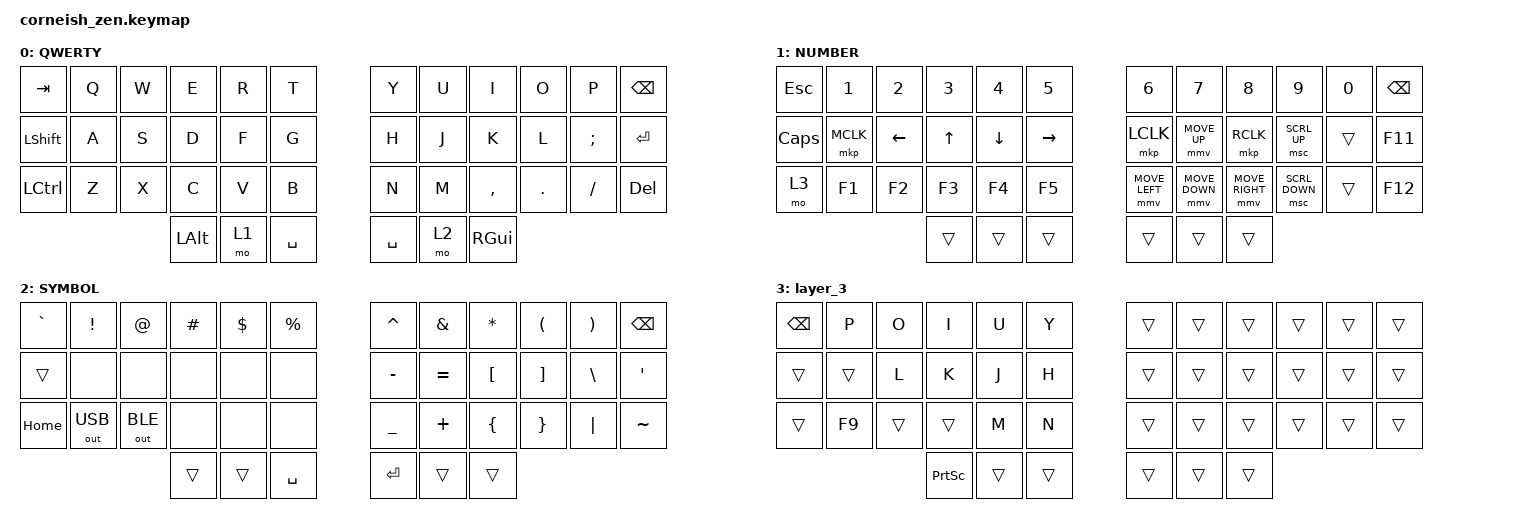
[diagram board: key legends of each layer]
/*
 * Copyright (c) 2020 The ZMK Contributors
 *
 * SPDX-License-Identifier: MIT
 */

#include <behaviors.dtsi>
#include <dt-bindings/zmk/keys.h>
#include <dt-bindings/zmk/outputs.h>
#include <dt-bindings/zmk/pointing.h>

/ {
    chosen {
        zmk,matrix_transform = &default_transform;

        // zmk,matrix_transform = &five_column_transform;
    };
};

/ {
    behaviors {
        td0: td0 {
            compatible = "zmk,behavior-tap-dance";
            label = "TD0";
            #binding-cells = <0>;
            bindings = <&kp LEFT_SHIFT>, <&kp CAPS>;
        };
    };

    combos { compatible = "zmk,combos"; };

    keymap {
        compatible = "zmk,keymap";

        default_layer {
            display-name = "QWERTY";

            // --------------------------------------------------------------------------------
            // |  TAB |  Q  |  W  |  E  |  R  |  T  |   |  Y  |  U   |  I  |  O  |  P  | BKSP |
            // | CTRL |  A  |  S  |  D  |  F  |  G  |   |  H  |  J   |  K  |  L  |  ;  |  '   | 
            // | SHFT |  Z  |  X  |  C  |  V  |  B  |   |  N  |  M   |  ,  |  .  |  /  | ESC  |
            //                    | GUI | LWR | SPC |   | ENT | RSE  | ALT |

            bindings = <
&kp TAB           &kp Q  &kp W  &kp E         &kp R  &kp T        &kp Y      &kp U  &kp I          &kp O    &kp P     &kp BSPC
&kp LEFT_SHIFT    &kp A  &kp S  &kp D         &kp F  &kp G        &kp H      &kp J  &kp K          &kp L    &kp SEMI  &kp ENTER
&kp LEFT_CONTROL  &kp Z  &kp X  &kp C         &kp V  &kp B        &kp N      &kp M  &kp COMMA      &kp DOT  &kp FSLH  &kp DELETE
                                &kp LEFT_ALT  &mo 1  &kp SPACE    &kp SPACE  &mo 2  &kp RIGHT_GUI
            >;
        };

        lower_layer {
            display-name = "NUMBER";

            // -----------------------------------------------------------------------------------------
            // |  TAB |  1  |  2  |  3  |  4  |  5  |   |  6  |  7  |  8  |  9  |  0  | BKSP |
            // | BTCLR| BT1 | BT2 | BT3 | BT4 | BT5 |   | LFT | DWN |  UP | RGT |     |      |
            // | SHFT |     |     |     |     |     |   |     |     |     |     |     |      |
            //                    | GUI |     | SPC |   | ENT |     | ALT |

            bindings = <
&kp ESC   &kp N1     &kp N2    &kp N3        &kp N4    &kp N5             &kp N6          &kp N7          &kp N8           &kp N9          &kp N0  &kp BSPC
&kp CAPS  &mkp MCLK  &kp LEFT  &kp UP_ARROW  &kp DOWN  &kp RIGHT_ARROW    &mkp LCLK       &mmv MOVE_UP    &mkp RCLK        &msc SCRL_UP    &trans  &kp F11
&mo 3     &kp F1     &kp F2    &kp F3        &kp F4    &kp F5             &mmv MOVE_LEFT  &mmv MOVE_DOWN  &mmv MOVE_RIGHT  &msc SCRL_DOWN  &trans  &kp F12
                               &trans        &trans    &trans             &trans          &trans          &trans
            >;
        };

        raise_layer {
            display-name = "SYMBOL";

            // -----------------------------------------------------------------------------------------
            // |  TAB |  !  |  @  |  #  |  $  |  %  |   |  ^  |  &  |  *  |  (  |  )  | BKSP |
            // | CTRL |     |     |     |     |     |   |  -  |  =  |  [  |  ]  |  \  |  `   |
            // | SHFT |     |     |     |     |     |   |  _  |  +  |  {  |  }  | "|" |  ~   |
            //                    | GUI |     | SPC |   | ENT |     | ALT |

            bindings = <
&kp GRAVE  &kp EXCL      &kp AT        &kp HASH  &kp DLLR  &kp PRCNT    &kp CARET  &kp AMPS   &kp ASTRK  &kp LPAR  &kp RPAR  &kp BSPC
&trans     &none         &none         &none     &none     &none        &kp MINUS  &kp EQUAL  &kp LBKT   &kp RBKT  &kp BSLH  &kp APOS
&kp HOME   &out OUT_USB  &out OUT_BLE  &none     &none     &none        &kp UNDER  &kp PLUS   &kp LBRC   &kp RBRC  &kp PIPE  &kp TILDE
                                       &trans    &trans    &kp SPACE    &kp RET    &trans     &trans
            >;
        };

        layer_3 {
            bindings = <
&kp BACKSPACE  &kp P   &kp O   &kp I            &kp U   &kp Y     &trans  &trans  &trans  &trans  &trans  &trans
&trans         &trans  &kp L   &kp K            &kp J   &kp H     &trans  &trans  &trans  &trans  &trans  &trans
&trans         &kp F9  &trans  &trans           &kp M   &kp N     &trans  &trans  &trans  &trans  &trans  &trans
                               &kp PRINTSCREEN  &trans  &trans    &trans  &trans  &trans
            >;
        };
    };
};
